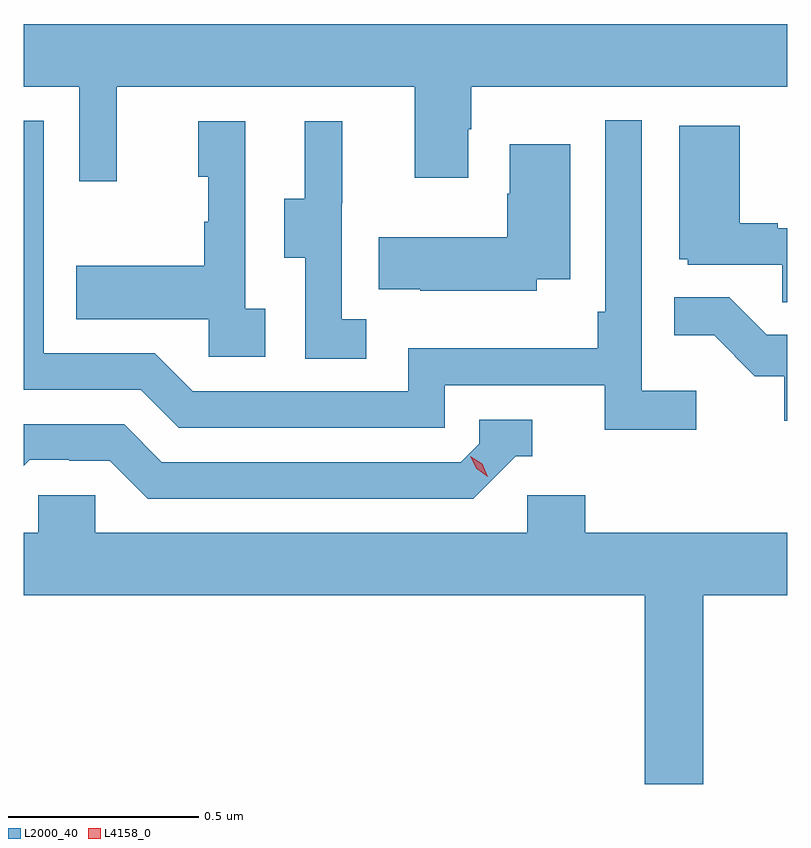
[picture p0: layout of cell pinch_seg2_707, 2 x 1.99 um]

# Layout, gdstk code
import gdstk
lib = gdstk.Library(unit=1e-6, precision=1e-09)
def P(c, l, *ps):  # polygons
    for p in ps: c.add(gdstk.Polygon(p, *l))
L2000_40 = (2000, 40)
L4158_0 = (4158, 0)

pinch_seg2_707 = lib.new_cell('pinch_seg2_707')
P(pinch_seg2_707, L2000_40, [(1109.369,598.352),(1110.149,598.352),(1110.149,598.113),(1110.289,598.113),(1110.289,598.241),(1110.297,598.241),(1110.297,598.352),(1111.125,598.352),(1111.125,598.516),(1109.125,598.516),(1109.125,598.352),(1109.271,598.352),(1109.271,598.104),(1109.369,598.104)],
  [(1110.886,597.556),(1110.744,597.556),(1110.744,598.264),(1110.648,598.264),(1110.648,597.763),(1110.628,597.763),(1110.628,597.667),(1110.132,597.667),(1110.132,597.555),(1109.568,597.555),(1109.469,597.654),(1109.178,597.654),(1109.178,598.263),(1109.125,598.263),(1109.125,597.558),(1109.432,597.558),(1109.531,597.459),(1110.228,597.459),(1110.228,597.57),(1110.647,597.57),(1110.647,597.454),(1110.886,597.454)],
  [(1110.022,597.743),(1109.958,597.743),(1109.958,598.047),(1109.96,598.047),(1109.96,598.261),(1109.861,598.261),(1109.861,598.059),(1109.807,598.059),(1109.807,597.904),(1109.862,597.904),(1109.862,597.64),(1110.022,597.64)],
  [(1109.758,597.77),(1109.706,597.77),(1109.706,598.261),(1109.582,598.261),(1109.582,598.116),(1109.608,598.116),(1109.608,597.998),(1109.598,597.998),(1109.598,597.883),(1109.263,597.883),(1109.263,597.743),(1109.61,597.743),(1109.61,597.645),(1109.758,597.645)],
  [(1111.125,597.981),(1111.1,597.981),(1111.1,597.994),(1111,597.994),(1111,598.249),(1110.842,598.249),(1110.842,597.9),(1110.864,597.9),(1110.864,597.885),(1111.111,597.885),(1111.111,597.787),(1111.125,597.787)],
  [(1110.469,597.848),(1110.556,597.848),(1110.556,598.201),(1110.398,598.201),(1110.398,598.071),(1110.391,598.071),(1110.391,597.958),(1110.055,597.958),(1110.055,597.821),(1110.163,597.821),(1110.163,597.818),(1110.469,597.818)],
  [(1111.125,597.702),(1111.071,597.702),(1110.973,597.8),(1110.829,597.8),(1110.829,597.701),(1110.933,597.701),(1111.04,597.594),(1111.117,597.594),(1111.117,597.477),(1111.125,597.477)],
  [(1110.414,597.384),(1110.457,597.384),(1110.457,597.48),(1110.318,597.48),(1110.318,597.417),(1110.27,597.369),(1109.487,597.369),(1109.388,597.468),(1109.125,597.468),(1109.125,597.359),(1109.141,597.375),(1109.244,597.375),(1109.244,597.372),(1109.351,597.372),(1109.45,597.273),(1110.303,597.273)],
  [(1110.904,597.02),(1111.125,597.02),(1111.125,597.184),(1110.596,597.184),(1110.596,597.282),(1110.444,597.282),(1110.444,597.184),(1109.313,597.184),(1109.313,597.282),(1109.163,597.282),(1109.163,597.184),(1109.125,597.184),(1109.125,597.02),(1110.752,597.02),(1110.752,596.526),(1110.904,596.526)])
P(pinch_seg2_707, L4158_0, [(1110.341,597.331),(1110.311,597.351),(1110.295,597.384),(1110.295,597.384),(1110.295,597.384),(1110.326,597.364),(1110.341,597.331),(1110.341,597.331)])

lib.write_gds('pinch_seg2_707.gds')
